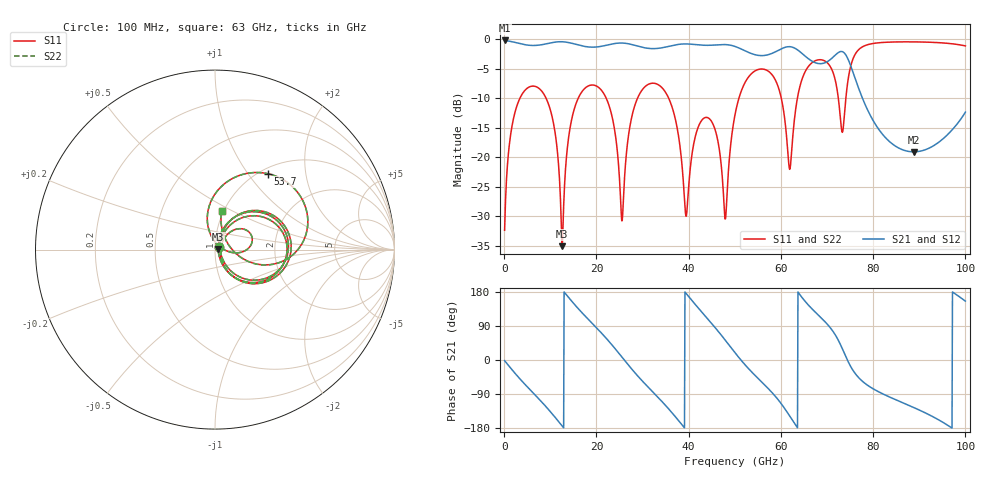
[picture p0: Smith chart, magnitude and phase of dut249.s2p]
! Touchstone file exported from HFSS 2026.1.0
!  File:  C:/ffzhzh/LocalFiles/Ansys_Project_Files/temp_train_TSV_RDL_249_1783669241_33328.aedt
!  Generated:  04:04:29 PM Jul 10, 2026
!  Design:  TSV_RDL
!  Project:  temp_train_TSV_RDL_249_1783669241_33328
! Variables:
!  h_bsmrdl = 3.9um
!  h_ox = 20um
!  h_rdl = 5um
!  h_sub = 92.48um
!  h_tmrdl = 2.4um
!  h_tsv = 92.48um
!  h_via = 3um
!  l_bsmrdl = 526.82um
!  l_sub = 4431.59um
!  l_tmrdl = 576.22um
!  m_sub = 200um
!  pitch = 46.36um
!  r_tsv = 12.92um
!  s_tmrdl = 10um
!  w_bsmrdl = 21.11um
!  w_sub = 500um
!  w_tmrdl = 27.64um
!  x_tsv_center1 = 590.04um
!  x_tsv_center2 = 1137.97um
!  x_tsv_center3 = 1741.83um
!  x_tsv_center4 = 2289.76um
!  x_tsv_center5 = 2893.62um
!  x_tsv_center6 = 3441.55um
# GHz S MA R 50.000000
! Terminal data exported
! Port[1] = TM_RDL1_1_T1
! Port[2] = TM_RDL5_1_T1
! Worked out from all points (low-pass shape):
!   1000 points, 100 MHz to 100 GHz, reference 50 ohm
!   highest |S21| = -0.18 dB at 100 MHz (marker M1); lowest = -19.1 dB at 88.8 GHz (marker M2)
!   |S21| within 3 dB of the highest: start of sweep to 65.79 GHz; 71.08 GHz to 74.45 GHz (3.371 GHz wide, 4.63 % of centre)
!   lowest |S11| = -35.1 dB at 12.6 GHz (marker M3), VSWR 1.04, Z = 51.8 + j0.287 ohm
!   |S11| at or under -10 dB: 9.099 GHz to 16.05 GHz (6.953 GHz wide, 55.3 % of centre); 22.14 GHz to 28.91 GHz (6.77 GHz wide, 26.5 % of centre); 35.68 GHz to 50.9 GHz (15.21 GHz wide, 35.1 % of centre) (the widest 3 of 6)
!   |S22| runs from -35.2 to -0.4 dB; largest |S21 - S12| = 9.9e-13
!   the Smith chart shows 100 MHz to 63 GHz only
!   S11 on the Smith chart (normalised r, x): 100 MHz: 1.04, +0.03; 53.7 GHz: 1.09, +1.25; 63 GHz: 0.98, +0.45
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0.1  0.02397 30.9  0.9797 -1.6  0.9797 -1.6  0.02397 30.9
! Gamma 0 0 0 0
! Port Impedance 50 0 50 0
2.1  0.2194 51.5  0.9482 -31.4  0.9482 -31.4  0.2194 51.5
6.3  0.4015 0.4  0.8881 -87.1  0.8881 -87.1  0.4015 0.3
10.4  0.2205 -50.5  0.939 -141.8  0.939 -141.8  0.2205 -50.5
12.6  0.01757 9.1  0.9551 -174.5  0.9551 -174.5  0.01733 9.0
16.8  0.3569 32.5  0.8823 125.8  0.8823 125.8  0.3568 32.5
22.5  0.2922 -35.6  0.8981 52.3  0.8981 52.3  0.2922 -35.5
25.6  0.02892 16.4  0.9317 6.7  0.9317 6.7  0.02907 16.3
28.3  0.2726 50.8  0.8911 -33.0  0.8911 -33.0  0.2726 50.8
33.4  0.4128 -9.1  0.8399 -99.1  0.8399 -99.1  0.4127 -9.1
40  0.05592 44.1  0.9139 167.5  0.9139 167.5  0.05651 43.5
45.4  0.1862 2.2  0.895 90.5  0.895 90.5  0.1863 2.1
47.9  0.02985 39.9  0.9039 53.0  0.9039 53.0  0.02997 39.8
50.1  0.2346 98.7  0.8701 18.5  0.8701 18.5  0.2347 98.6
53.7  0.5157 55.1  0.756 -32.0  0.756 -32.0  0.5158 55.0
59.5  0.3868 -9.2  0.8099 -106.3  0.8099 -106.3  0.3867 -9.4
63  0.2211 80.1  0.843 -168.1  0.843 -168.1  0.2208 80.4
66.7  0.6322 41.8  0.655 135.5  0.655 135.5  0.6322 41.9
73.8  0.2367 59.1  0.7633 16.5  0.7633 16.5  0.2381 58.7
83.4  0.948 -9.6  0.1373 -96.8  0.1373 -96.8  0.948 -9.7
88.8  0.9529 -35.6  0.111 -125.4  0.111 -125.4  0.9529 -35.7
100  0.8805 -109.6  0.2413 155.4  0.2413 155.4  0.8805 -109.7
